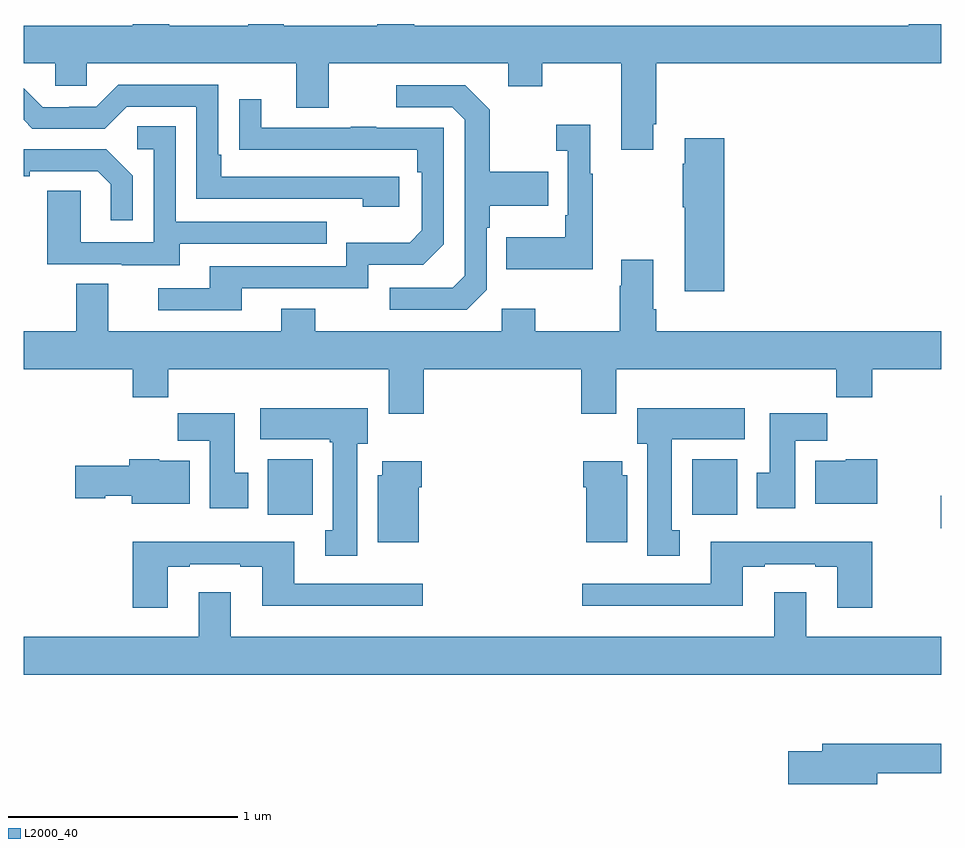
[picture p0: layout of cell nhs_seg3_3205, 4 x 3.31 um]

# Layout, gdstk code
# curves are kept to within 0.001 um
import gdstk
lib = gdstk.Library(unit=1e-6, precision=1e-09)
def R(c, l, rs):  # rectangles x0, y0, x1, y1
    for r in rs: c.add(gdstk.rectangle(r[:2], r[2:], *l))
def P(c, l, *ps):  # polygons
    for p in ps: c.add(gdstk.Polygon(p, *l))
L2000_40 = (2000, 40)

nhs_seg3_3205 = lib.new_cell('nhs_seg3_3205')
R(nhs_seg3_3205, L2000_40, [(280.998,720.202,281,720.344), (278.063,720.26,278.26,720.502), (279.914,720.26,280.111,720.502)])
P(nhs_seg3_3205, L2000_40, [(279.745,721.963),(279.758,721.963),(279.758,722.228),(281,722.228),(281,722.4),(280.859,722.4),(280.859,722.392),(278.702,722.392),(278.702,722.4),(278.542,722.4),(278.542,722.392),(278.133,722.392),(278.133,722.4),(277.978,722.4),(277.978,722.392),(277.635,722.392),(277.635,722.4),(277.475,722.4),(277.475,722.392),(277,722.392),(277,722.228),(277.137,722.228),(277.137,722.13),(277.275,722.13),(277.275,722.228),(278.189,722.228),(278.189,722.034),(278.329,722.034),(278.329,722.228),(279.113,722.228),(279.113,722.129),(279.261,722.129),(279.261,722.228),(279.605,722.228),(279.605,721.851),(279.745,721.851)],
  [(278.638,721.734),(277.861,721.734),(277.861,721.831),(277.848,721.831),(277.848,722.136),(277.413,722.136),(277.317,722.04),(277.199,722.04),(277.199,722.037),(277.083,722.037),(277,722.12),(277,721.982),(277.038,721.944),(277.353,721.944),(277.449,722.04),(277.752,722.04),(277.752,721.638),(278.477,721.638),(278.477,721.604),(278.638,721.604)],
  [(279.018,721.242),(279.018,721.511),(279.031,721.511),(279.031,721.607),(279.287,721.607),(279.287,721.755),(279.031,721.755),(279.031,722.027),(278.925,722.133),(278.625,722.133),(278.625,722.037),(278.868,722.037),(278.922,721.983),(278.922,721.302),(278.871,721.251),(278.595,721.251),(278.595,721.155),(278.931,721.155)],
  [(277.951,721.248),(278.502,721.248),(278.502,721.35),(278.742,721.35),(278.832,721.44),(278.832,721.947),(278.537,721.947),(278.537,721.952),(278.425,721.952),(278.425,721.947),(278.035,721.947),(278.035,722.071),(277.939,722.071),(277.939,721.852),(278.716,721.851),(278.716,721.754),(278.736,721.754),(278.736,721.5),(278.683,721.447),(278.406,721.447),(278.406,721.344),(277.811,721.344),(277.811,721.248),(277.587,721.248),(277.587,721.152),(277.951,721.152)],
  [(279.481,721.747),(279.469,721.747),(279.469,721.96),(279.321,721.96),(279.321,721.847),(279.372,721.847),(279.372,721.567),(279.36,721.567),(279.36,721.471),(279.103,721.471),(279.103,721.331),(279.481,721.331)],
  [(277.681,721.443),(278.321,721.443),(278.321,721.539),(277.662,721.539),(277.662,721.955),(277.494,721.955),(277.494,721.854),(277.566,721.854),(277.566,721.449),(277.248,721.449),(277.248,721.673),(277.103,721.673),(277.103,721.353),(277.427,721.353),(277.427,721.349),(277.681,721.349)],
  [(280.054,721.903),(279.881,721.903),(279.881,721.79),(279.874,721.79),(279.874,721.601),(279.881,721.601),(279.881,721.236),(280.054,721.236)],
  [(277.476,721.738),(277.36,721.854),(277,721.854),(277,721.736),(277.027,721.736),(277.027,721.758),(277.322,721.758),(277.379,721.701),(277.379,721.545),(277.476,721.545)],
  [(278.744,720.896),(279.431,720.896),(279.431,720.702),(279.583,720.702),(279.583,720.896),(280.543,720.896),(280.543,720.772),(280.7,720.772),(280.7,720.896),(281,720.896),(281,721.06),(279.758,721.06),(279.758,721.156),(279.745,721.156),(279.745,721.372),(279.605,721.372),(279.605,721.259),(279.598,721.259),(279.598,721.06),(279.231,721.06),(279.231,721.159),(279.084,721.159),(279.084,721.06),(278.271,721.06),(278.271,721.159),(278.123,721.159),(278.123,721.06),(277.369,721.06),(277.369,721.268),(277.229,721.268),(277.229,721.06),(277,721.06),(277,720.896),(277.475,720.896),(277.475,720.772),(277.631,720.772),(277.631,720.896),(278.591,720.896),(278.591,720.702),(278.744,720.702)],
  [(278.455,720.57),(278.5,720.57),(278.5,720.724),(278.031,720.724),(278.031,720.59),(278.335,720.59),(278.335,720.577),(278.348,720.577),(278.348,720.194),(278.315,720.194),(278.315,720.081),(278.455,720.081)],
  [(279.859,720.194),(279.826,720.194),(279.826,720.59),(280.144,720.59),(280.144,720.724),(279.674,720.724),(279.674,720.57),(279.719,720.57),(279.719,720.081),(279.859,720.081)],
  [(280.363,720.584),(280.502,720.584),(280.502,720.703),(280.253,720.703),(280.253,720.444),(280.196,720.444),(280.196,720.288),(280.363,720.288)],
  [(277.978,720.444),(277.921,720.444),(277.921,720.703),(277.672,720.703),(277.672,720.584),(277.811,720.584),(277.811,720.288),(277.978,720.288)],
  [(277.723,720.496),(277.59,720.496),(277.59,720.502),(277.46,720.502),(277.46,720.474),(277.224,720.474),(277.224,720.332),(277.356,720.332),(277.356,720.344),(277.472,720.344),(277.472,720.308),(277.723,720.308)],
  [(280.72,720.502),(280.584,720.502),(280.584,720.496),(280.451,720.496),(280.451,720.308),(280.72,720.308)],
  [(278.722,720.38),(278.735,720.38),(278.735,720.493),(278.564,720.493),(278.564,720.432),(278.543,720.432),(278.543,720.14),(278.722,720.14)],
  [(279.631,720.432),(279.61,720.432),(279.61,720.493),(279.44,720.493),(279.44,720.38),(279.452,720.38),(279.452,720.14),(279.631,720.14)],
  [(277.627,720.033),(277.723,720.033),(277.723,720.045),(277.943,720.045),(277.943,720.033),(278.039,720.033),(278.039,719.864),(278.74,719.864),(278.74,719.961),(278.179,719.961),(278.179,720.142),(277.475,720.142),(277.475,719.856),(277.627,719.856)],
  [(280.7,720.142),(279.995,720.142),(279.995,719.961),(279.435,719.961),(279.435,719.864),(280.135,719.864),(280.135,720.033),(280.231,720.033),(280.231,720.045),(280.451,720.045),(280.451,720.033),(280.547,720.033),(280.547,719.856),(280.7,719.856)],
  [(281,719.728),(280.411,719.728),(280.411,719.923),(280.271,719.923),(280.271,719.728),(277.903,719.728),(277.903,719.923),(277.763,719.923),(277.763,719.728),(277,719.728),(277,719.564),(281,719.564)],
  [(280.72,719.134),(281,719.134),(281,719.263),(280.481,719.263),(280.481,719.229),(280.332,719.229),(280.332,719.087),(280.72,719.087)])

lib.write_gds('nhs_seg3_3205.gds')
